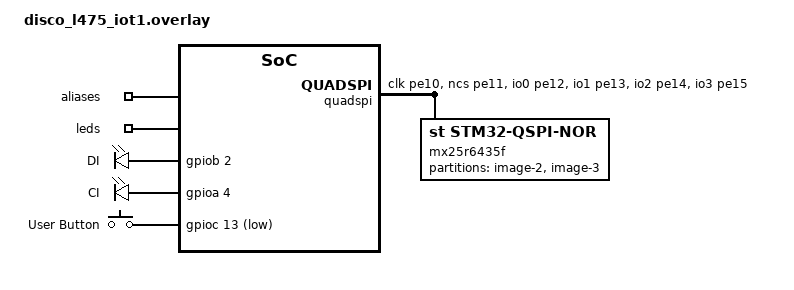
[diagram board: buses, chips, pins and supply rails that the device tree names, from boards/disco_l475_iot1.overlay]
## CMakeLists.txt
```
cmake_minimum_required(VERSION 3.20.0)
find_package(Zephyr REQUIRED HINTS $ENV{ZEPHYR_BASE})
project(prac1)

target_sources(app PRIVATE src/task2.c)
```

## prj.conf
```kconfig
CONFIG_ENTROPY_GENERATOR=y
CONFIG_PRINTK=y
CONFIG_POLL=y


CONFIG_PRINTK=y
CONFIG_LOG=y
CONFIG_LOG_DEFAULT_LEVEL=3
CONFIG_SERIAL=y
CONFIG_UART_CONSOLE=y
CONFIG_STDOUT_CONSOLE=y
CONFIG_SPI=y
CONFIG_GPIO=y
CONFIG_SPI_NRFX=y
```

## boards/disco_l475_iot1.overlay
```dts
/ {

 
    aliases {
        di-led = &di_led;
        ci-led = &ci_led;
    };
    
    leds {
        compatible = "gpio-leds"; 
        di_led: di {
            gpios = <&gpiob 2 GPIO_ACTIVE_HIGH>;   
            label = "DI";
        };

        ci_led: ci {
            gpios = <&gpioa 4 GPIO_ACTIVE_HIGH>;   
            label = "CI";
        };
    };
};

// Delete slot1 and slot2 to enable rearranging of paritions
/delete-node/ &slot1_partition;
/delete-node/ &slot2_partition;
&quadspi {
    pinctrl-0 = <&quadspi_clk_pe10 &quadspi_ncs_pe11
             &quadspi_bk1_io0_pe12 &quadspi_bk1_io1_pe13
             &quadspi_bk1_io2_pe14 &quadspi_bk1_io3_pe15>;
    pinctrl-names = "default";
    dmas = <&dma1 5 5 0x0000>;
    dma-names = "tx_rx";

    status = "okay";

    mx25r6435f: qspi-nor-flash@90000000 {
        compatible = "st,stm32-qspi-nor";
        reg = <0x90000000 DT_SIZE_M(8)>; /* 64 Mbits */
        qspi-max-frequency = <50000000>;
        status = "okay";

        partitions {
            compatible = "fixed-partitions";
            #address-cells = <1>;
            #size-cells = <1>;

            slot2_partition: partition@0 {
                label = "image-2";
                reg = <0x00000000 DT_SIZE_K(864)>;
            };

            slot3_partition: partition@d8000 {
                label = "image-3";
                reg = <0x000d8000 DT_SIZE_M(7)>;
            };
        };
    };
};

// Delete slot0 to fix partition overlap
/delete-node/ &slot0_partition;
&flash0 {
    partitions {
        compatible = "fixed-partitions";
        #address-cells = <1>;
        #size-cells = <1>;

        boot_partition: partition@0 {
            label = "mcuboot";
            reg = <0x0 DT_SIZE_K(64)>;
            read-only;
        };

        slot0_partition: partition@10000 {
            label = "image-0";
            reg = <0x10000 DT_SIZE_K(468)>;
        };

        // Add new slot1 to ensure we can use swap algorithm
        slot1_partition: partition@84000 {
            label = "image-1";
            reg = <0x84000 DT_SIZE_K(460)>;
        };

        storage_partition: partition@f8000 {
            label = "storage";
            reg = <0xf8000 DT_SIZE_K(32)>;
        };
    };
};

/ {
    aliases {
        sw0 = &button_0;
    };
};

gpio_keys {
    compatible = "gpio-keys";
    button_0: button_0 {
        label = "User Button";
        gpios = <&gpioc 13 GPIO_ACTIVE_LOW>;
        zephyr,code = <INPUT_KEY_0>;
    };
};
```

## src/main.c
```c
#include <zephyr/kernel.h>
#include <zephyr/device.h> 
#include <zephyr/devicetree.h>
#include <zephyr/random/random.h>
#include <stdio.h>
#include <zephyr/drivers/gpio.h>
#include <zephyr/sys/printk.h>

#define CI_NODE DT_ALIAS(ci_led)
#define DI_NODE DT_ALIAS(di_led)

#define RGB_PRIORITY 3
#define CONTROL_PRIORITY 4
#define STACK_SIZE 1024
 

static const struct gpio_dt_spec ci = GPIO_DT_SPEC_GET(CI_NODE, gpios);
static const struct gpio_dt_spec di = GPIO_DT_SPEC_GET(DI_NODE, gpios);

int main(void) {
   
    if (!gpio_is_ready_dt(&ci) || !gpio_is_ready_dt(&di)) {
        return 0;
    }

    int ci_ret = gpio_pin_configure_dt(&ci, GPIO_OUTPUT_ACTIVE);
    int di_ret = gpio_pin_configure_dt(&di, GPIO_OUTPUT_ACTIVE);
    if (ci_ret < 0 || di_ret < 0) {
       
        return 0;
    }
 
    return 0;
}

void clk(void) {
    gpio_pin_set_dt(&ci, 0); // checked and is toggling
    k_usleep(20);

    gpio_pin_set_dt(&ci, 1); 
    k_usleep(20);
}


void send_byte(uint8_t byte){
     
     for (uint8_t i=0; i<8; i++)
     { 
         if ((byte & 0x80) != 0)
            gpio_pin_set_dt(&di, 1);
         else
            gpio_pin_set_dt(&di, 0);
         clk();
   
         byte <<= 1;
     }
}

K_MSGQ_DEFINE(colour_msgq, sizeof(uint32_t), 8, 4);

static const uint32_t colour_sequence[] = {
    0x000000,  
    0x0000FF,  
    0x00FF00,  
    0x00FFFF,   
    0xFF0000,   
    0xFF00FF,   
    0xFFFF00,   
    0xFFFFFF  
};

void send_rgb_data(uint8_t red, uint8_t green, uint8_t blue) {
    printk("Sending Colour R: %d, G: %d, B: %d\n", red, green, blue);
    send_byte(0x00);
    send_byte(0x00);
    send_byte(0x00);
    send_byte(0x00);
     

    uint8_t prefix = 0b11000000;
    if ((blue & 0x80) == 0)     prefix|= 0b00100000;
    if ((blue & 0x40) == 0)     prefix|= 0b00010000; 
    if ((green & 0x80) == 0)    prefix|= 0b00001000;
    if ((green & 0x40) == 0)    prefix|= 0b00000100;
    if ((red & 0x80) == 0)      prefix|= 0b00000010;
    if ((red & 0x40) == 0)      prefix|= 0b00000001;
    send_byte(prefix);

    send_byte(blue);  
    send_byte(green);  
    send_byte(red);   

    send_byte(0x00);
    send_byte(0x00);
    send_byte(0x00);
    send_byte(0x00);

    


}

void control(void) {
    uint32_t col_num = 0;
    while (1) {
        uint32_t colour = colour_sequence[col_num];
        k_msgq_put(&colour_msgq, &colour, K_NO_WAIT);
        
        col_num = (col_num + 1) % 8;  
        k_sleep(K_SECONDS(2));
    }
}


void rgb_thread(void) {
    uint32_t colour;
    while (1) {  
        k_msgq_get(&colour_msgq, &colour, K_FOREVER); 
       // send_rgb_data(255, 0, 0); // Set to full red

        send_rgb_data((colour >> 16) & 0xFF, (colour >> 8) & 0xFF, colour & 0xFF);
    }
}

K_THREAD_DEFINE(rgb_id, STACK_SIZE, rgb_thread, NULL, NULL, NULL,
                RGB_PRIORITY, 0, 0);

K_THREAD_DEFINE(control_id, STACK_SIZE, control, NULL, NULL, NULL,
                CONTROL_PRIORITY, 0, 0);
```
